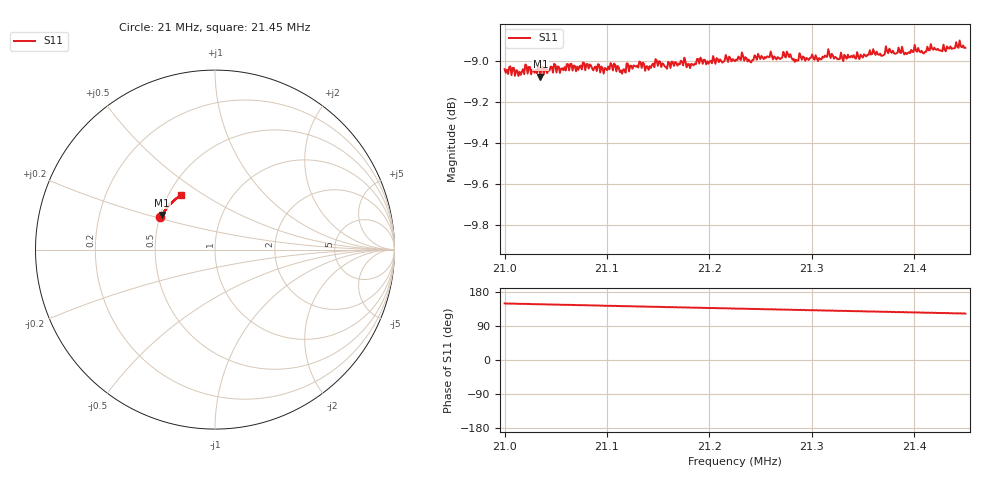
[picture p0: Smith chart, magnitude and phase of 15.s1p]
# Hz S RI R 50
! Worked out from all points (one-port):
!   401 points, 21 MHz to 21.45 MHz, reference 50 ohm
!   lowest |S11| = -9.1 dB at 21.035 MHz (marker M1), VSWR 2.08, Z = 25.6 + j11.2 ohm
!   |S11| at or under -10 dB: nowhere
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2.1e7  -0.3039 0.18
2.103488e7  -0.2943 0.1925
2.105625e7  -0.2921 0.1988
2.107875e7  -0.2865 0.2062
2.11125e7  -0.2784 0.2164
2.114962e7  -0.271 0.2275
2.115638e7  -0.2694 0.2292
2.116875e7  -0.2665 0.2328
2.1225e7  -0.253 0.2486
2.126212e7  -0.2437 0.2583
2.128125e7  -0.2385 0.2631
2.131162e7  -0.231 0.2702
2.131838e7  -0.2285 0.2722
2.1324e7  -0.2287 0.2721
2.13375e7  -0.2233 0.2767
2.136225e7  -0.2165 0.2826
2.1369e7  -0.2151 0.2835
2.137462e7  -0.213 0.2857
2.138025e7  -0.2136 0.2853
2.139375e7  -0.2073 0.2899
2.140275e7  -0.2049 0.2919
2.141062e7  -0.2047 0.2921
2.14185e7  -0.2003 0.2956
2.142525e7  -0.1988 0.2964
2.143088e7  -0.1966 0.2976
2.143875e7  -0.1965 0.2985
2.144662e7  -0.1921 0.3015
2.145e7  -0.1909 0.3022
